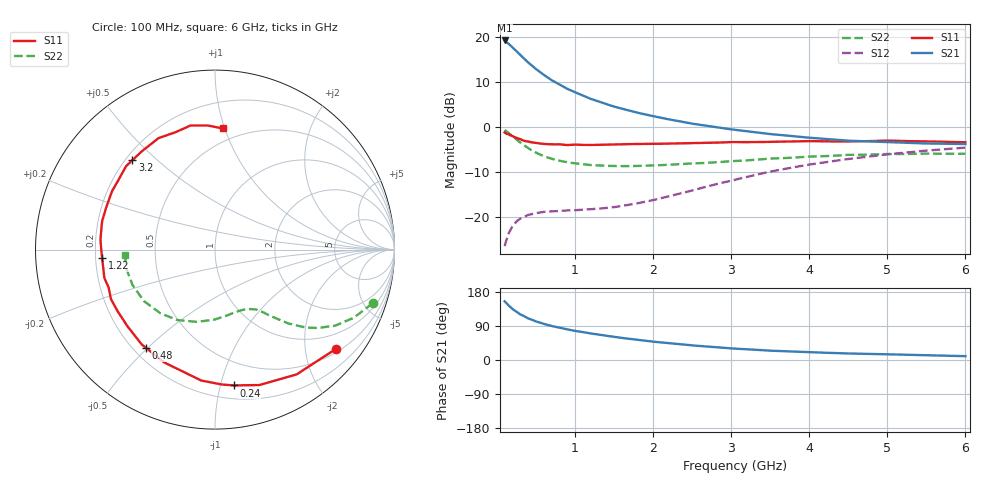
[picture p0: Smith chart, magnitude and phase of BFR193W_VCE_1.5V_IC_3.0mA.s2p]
! Infineon Technologies  Discrete & RF Semiconductors
! BFR193W
! VCE =  1.5 V,  IC =  3.0 mA
! Common Emitter S-Parameters:  Nov 2015
# GHz  S  MA  R  50
!  f  S11  S21  S12  S22
! GHz  MAG  ANG  MAG  ANG  MAG  ANG  MAG  ANG
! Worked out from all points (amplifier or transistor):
!   192 points, 100 MHz to 6 GHz, reference 50 ohm
!   highest |S21| = 19.3 dB at 100 MHz (marker M1)
!   |S21| within 3 dB of that: start of sweep to 286.4 MHz
!   unconditionally stable (mu >= 1): 1.347 GHz to 2.666 GHz
!   at 440 MHz: K = 0.38, MSG = 16.7 dB, |S12| = -19.5 dB
!   at 1.7 GHz: K = 1.09, MAG = 8.7 dB, |S12| = -17.3 dB
!   at 6 GHz: K = 0.96, MSG = 0.4 dB, |S12| = -4.6 dB
!   S11 on the Smith chart (normalised r, x): 100 MHz: 0.58, -2.68; 240 MHz: 0.30, -1.10; 480 MHz: 0.25, -0.50; 1.22 GHz: 0.23, -0.04; 3.2 GHz: 0.23, +0.42; 6 GHz: 0.40, +0.98
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0.1  0.8718 -39.4  9.249 154.9  0.0468 68.9  0.9281 -18.8
0.15  0.8309 -56.8  8.525 144.0  0.0645 60.6  0.861 -26.2
0.2  0.7943 -71.8  7.788 134.7  0.0779 53.7  0.793 -32.3
0.24  0.7637 -82.2  7.182 128.7  0.086 49.1  0.7391 -35.9
0.3  0.7334 -96.0  6.374 120.5  0.095 43.9  0.6714 -40.4
0.4  0.6895 -114.2  5.269 109.9  0.1043 38.0  0.5803 -45.2
0.48  0.6691 -124.9  4.604 103.7  0.1083 35.2  0.5296 -47.5
0.5  0.6678 -127.7  4.448 101.9  0.1093 34.5  0.5171 -48.2
0.6  0.6485 -138.6  3.831 95.4  0.1129 32.7  0.4726 -50.6
0.7  0.6423 -147.3  3.342 89.8  0.1143 31.9  0.4424 -52.3
0.8  0.6419 -154.5  2.98 85.0  0.1157 32.0  0.4204 -54.2
0.9  0.6291 -160.4  2.677 80.8  0.1172 32.6  0.4039 -55.6
1.1  0.6315 -170.2  2.251 73.7  0.1192 35.3  0.3846 -59.4
1.22  0.6307 -175.6  2.038 69.6  0.121 37.2  0.3757 -61.8
1.6  0.6425 171.4  1.603 58.3  0.1315 45.6  0.3661 -69.9
2.08  0.6504 157.8  1.281 46.9  0.1588 55.5  0.3751 -81.4
2.5  0.6595 148.1  1.09 38.4  0.1953 60.8  0.3917 -91.5
3.1  0.6783 134.8  0.92 29.5  0.2647 62.2  0.4194 -107.3
3.2  0.6781 132.8  0.898 28.4  0.2779 61.7  0.4243 -110.1
4.1  0.6938 115.2  0.749 19.8  0.3922 55.0  0.4697 -133.5
5.1  0.7011 99.6  0.674 14.6  0.5051 44.1  0.4995 -159.0
6  0.6764 86.4  0.646 10.1  0.5892 33.3  0.5031 -176.8
